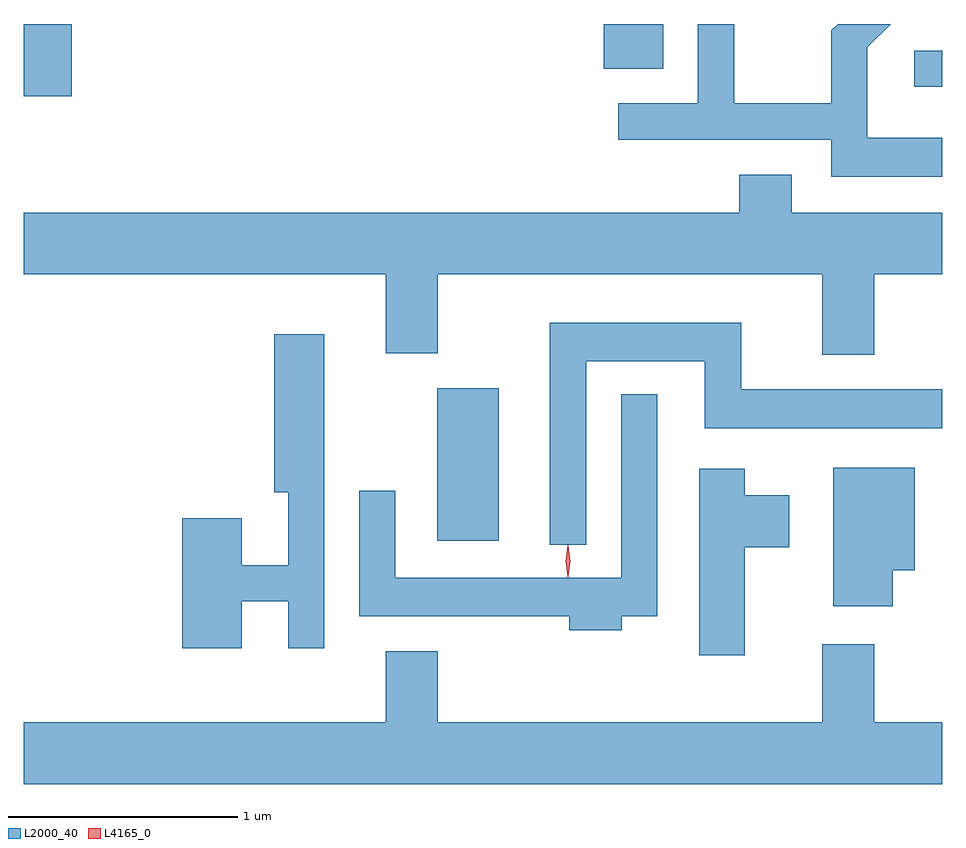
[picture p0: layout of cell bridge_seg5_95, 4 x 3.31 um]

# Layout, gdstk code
import gdstk
lib = gdstk.Library(unit=1e-6, precision=1e-09)
def R(c, l, rs):  # rectangles x0, y0, x1, y1
    for r in rs: c.add(gdstk.rectangle(r[:2], r[2:], *l))
def P(c, l, *ps):  # polygons
    for p in ps: c.add(gdstk.Polygon(p, *l))
L2000_40 = (2000, 40)
L4165_0 = (4165, 0)

bridge_seg5_95 = lib.new_cell('bridge_seg5_95')
R(bridge_seg5_95, L2000_40, [(1218.336,1486.716,1218.604,1487.379), (1216.535,1488.651,1216.744,1488.965), (1219.061,1488.771,1219.319,1488.965)])
P(bridge_seg5_95, L2000_40, [(1220.535,1488.469),(1220.209,1488.469),(1220.209,1488.864),(1220.31,1488.965),(1220.079,1488.965),(1220.051,1488.937),(1220.051,1488.619),(1219.629,1488.619),(1219.629,1488.965),(1219.471,1488.965),(1219.471,1488.619),(1219.123,1488.619),(1219.123,1488.461),(1220.051,1488.461),(1220.051,1488.301),(1220.535,1488.301)],
  [(1220.535,1488.85),(1220.534,1488.849),(1220.413,1488.849),(1220.413,1488.691),(1220.535,1488.691)],
  [(1220.239,1487.876),(1220.535,1487.876),(1220.535,1488.144),(1219.879,1488.144),(1219.879,1488.309),(1219.651,1488.309),(1219.651,1488.144),(1216.535,1488.144),(1216.535,1487.876),(1218.111,1487.876),(1218.111,1487.531),(1218.339,1487.531),(1218.339,1487.876),(1220.011,1487.876),(1220.011,1487.526),(1220.239,1487.526)],
  [(1218.984,1487.496),(1219.501,1487.496),(1219.501,1487.206),(1220.535,1487.206),(1220.535,1487.374),(1219.659,1487.374),(1219.659,1487.664),(1218.826,1487.664),(1218.826,1486.698),(1218.984,1486.698)],
  [(1217.484,1486.451),(1217.686,1486.451),(1217.686,1486.248),(1217.844,1486.248),(1217.844,1487.614),(1217.626,1487.614),(1217.626,1486.926),(1217.686,1486.926),(1217.686,1486.609),(1217.484,1486.609),(1217.484,1486.814),(1217.226,1486.814),(1217.226,1486.246),(1217.484,1486.246)],
  [(1219.139,1486.386),(1219.294,1486.386),(1219.294,1487.353),(1219.136,1487.353),(1219.136,1486.554),(1218.154,1486.554),(1218.154,1486.933),(1217.996,1486.933),(1217.996,1486.386),(1218.911,1486.386),(1218.911,1486.326),(1219.139,1486.326)],
  [(1220.319,1486.586),(1220.414,1486.586),(1220.414,1487.034),(1220.061,1487.034),(1220.061,1486.431),(1220.319,1486.431)],
  [(1219.674,1486.686),(1219.869,1486.686),(1219.869,1486.914),(1219.674,1486.914),(1219.674,1487.029),(1219.476,1487.029),(1219.476,1486.216),(1219.674,1486.216)],
  [(1220.535,1485.924),(1220.239,1485.924),(1220.239,1486.264),(1220.011,1486.264),(1220.011,1485.924),(1218.339,1485.924),(1218.339,1486.234),(1218.111,1486.234),(1218.111,1485.924),(1216.535,1485.924),(1216.535,1485.656),(1220.535,1485.656)])
P(bridge_seg5_95, L4165_0, [(1218.905,1486.559),(1218.904,1486.56),(1218.895,1486.626),(1218.904,1486.692),(1218.905,1486.693),(1218.905,1486.692),(1218.915,1486.626),(1218.905,1486.56)],
  [(1218.904,1486.557),(1218.895,1486.626),(1218.904,1486.696),(1218.905,1486.696),(1218.906,1486.696),(1218.915,1486.626),(1218.906,1486.557),(1218.905,1486.557)])

lib.write_gds('bridge_seg5_95.gds')
